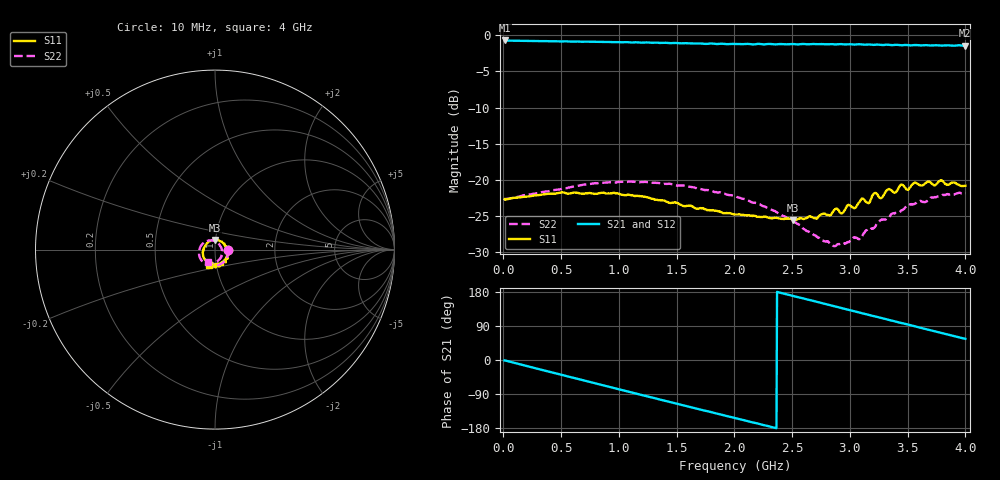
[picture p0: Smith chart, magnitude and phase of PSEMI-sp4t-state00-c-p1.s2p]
! 5/5/2016 4:43:08 PM
! C:\ANRITSUVNA\DATA\PSEMI-SP4T-C-P1.S2P
! CHANNEL.1
! TR.MEASUREMENT
! CORRECTED.DATA
# GHZ S RI R 50.0
! FREQ.GHZ  S11RE  S11IM  S21RE  S21IM  S12RE  S12IM  S22RE  S22IM
!; PortSelection: Port_12
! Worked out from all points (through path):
!   801 points, 10 MHz to 4 GHz, reference 50 ohm
!   highest |S21| = -0.74 dB at 10 MHz (marker M1); lowest = -1.5 dB at 3.995 GHz (marker M2)
!   group delay of S21, straight-line fit = 211 ps
!   lowest |S11| = -25.5 dB at 2.509 GHz (marker M3), VSWR 1.11, Z = 49.5 + j5.25 ohm
!   |S11| at or under -10 dB: start of sweep to end of sweep
!   |S22| runs from -29.1 to -20.2 dB; largest |S21 - S12| = 0.0069
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0.01  0.0735 -0.00341  0.918 -0.0166  0.9176 -0.016  0.0744 -0.00423
0.3441625  0.0538 -0.0585  0.8103 -0.4108  0.8098 -0.4107  0.0556 -0.0613
0.678325  6.1e-06 -0.0804  0.5466 -0.7146  0.5465 -0.7142  0.000787 -0.0922
0.9925375  -0.0468 -0.0656  0.2054 -0.8704  0.2051 -0.8695  -0.0529 -0.0809
1.152138  -0.0602 -0.0489  0.0175 -0.8915  0.0173 -0.8905  -0.0712 -0.0651
1.341662  -0.0668 -0.0285  -0.2041 -0.8607  -0.202 -0.8614  -0.085 -0.0431
1.615975  -0.0666 -0.0027  -0.4915 -0.7257  -0.4908 -0.7291  -0.0892 -0.0079
2.005  -0.0517 0.0257  -0.7749 -0.3924  -0.7722 -0.3942  -0.0706 0.0319
2.2843  -0.0313 0.0454  -0.8619 -0.0934  -0.8644 -0.0911  -0.0415 0.0489
2.508738  -0.00265 0.0529  -0.8514 0.166  -0.8524 0.1632  -0.0117 0.0502
2.673325  0.021 0.0511  -0.796 0.3442  -0.7971 0.3462  0.0105 0.0412
2.872825  0.0528 0.0341  -0.6722 0.5393  -0.6741 0.5396  0.0292 0.0192
2.932675  0.0537 0.0244  -0.6281 0.5946  -0.6267 0.5967  0.0347 0.0115
3.087287  0.0711 -0.00356  -0.4927 0.7091  -0.492 0.7155  0.0383 -0.0102
3.1621  0.0675 -0.0151  -0.4199 0.7533  -0.4223 0.7587  0.0394 -0.023
3.216963  0.0765 -0.0275  -0.3644 0.7758  -0.365 0.7747  0.0364 -0.0302
3.271825  0.0674 -0.0329  -0.3018 0.8001  -0.3014 0.8051  0.0362 -0.0389
3.336663  0.0714 -0.0488  -0.2326 0.8245  -0.2291 0.8298  0.0307 -0.0456
3.506238  0.0481 -0.071  -0.0429 0.8511  -0.0392 0.8514  0.0141 -0.0654
3.650875  0.026 -0.0911  0.1159 0.8438  0.1161 0.8434  -0.00288 -0.0702
3.995013  -0.0301 -0.086  0.4689 0.7005  0.4713 0.6976  -0.0407 -0.0698
4  -0.0311 -0.0858  0.473 0.6982  0.475 0.6942  -0.0409 -0.0699
